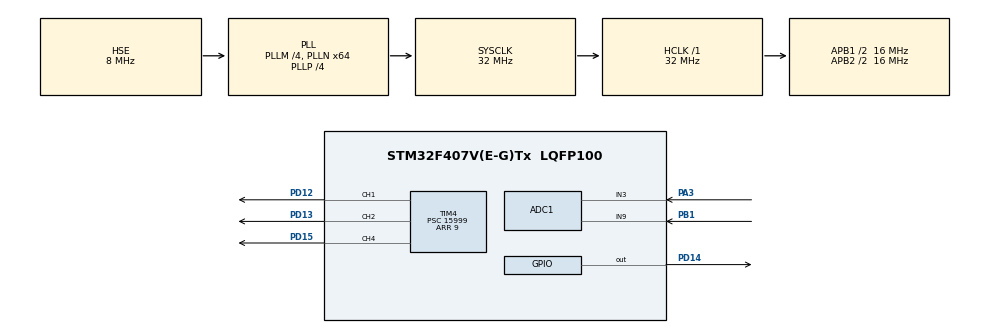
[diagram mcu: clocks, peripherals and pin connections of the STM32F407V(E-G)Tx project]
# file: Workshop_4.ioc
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ADC1.Channel-0\#ChannelRegularConversion=ADC_CHANNEL_3
ADC1.Channel-1\#ChannelRegularConversion=ADC_CHANNEL_9
ADC1.Channel-2\#ChannelRegularConversion=ADC_CHANNEL_TEMPSENSOR
ADC1.ClockPrescaler=ADC_CLOCK_SYNC_PCLK_DIV4
ADC1.DMAContinuousRequests=ENABLE
ADC1.ExternalTrigConv=ADC_EXTERNALTRIGCONV_T2_TRGO
ADC1.NbrOfConversion=3
ADC1.NbrOfConversionFlag=1
ADC1.Rank-0\#ChannelRegularConversion=1
ADC1.Rank-1\#ChannelRegularConversion=2
ADC1.Rank-2\#ChannelRegularConversion=3
ADC1.SamplingTime-0\#ChannelRegularConversion=ADC_SAMPLETIME_3CYCLES
ADC1.SamplingTime-1\#ChannelRegularConversion=ADC_SAMPLETIME_3CYCLES
ADC1.SamplingTime-2\#ChannelRegularConversion=ADC_SAMPLETIME_3CYCLES
ADC1.ScanConvMode=ENABLE
ADC1.master=1
Dma.ADC1.0.Direction=DMA_PERIPH_TO_MEMORY
Dma.ADC1.0.FIFOMode=DMA_FIFOMODE_DISABLE
Dma.ADC1.0.Instance=DMA2_Stream0
Dma.ADC1.0.MemDataAlignment=DMA_MDATAALIGN_HALFWORD
Dma.ADC1.0.MemInc=DMA_MINC_ENABLE
Dma.ADC1.0.Mode=DMA_CIRCULAR
Dma.ADC1.0.PeriphDataAlignment=DMA_PDATAALIGN_HALFWORD
Dma.ADC1.0.PeriphInc=DMA_PINC_DISABLE
Dma.ADC1.0.Priority=DMA_PRIORITY_LOW
Dma.Request0=ADC1
Mcu.Family=STM32F4
Mcu.Name=STM32F407V(E-G)Tx
Mcu.Package=LQFP100
NVIC.DMA2_Stream0_IRQn=true\:0\:0\:false\:false\:true\:false\:true
NVIC.PriorityGroup=NVIC_PRIORITYGROUP_4
NVIC.TIM3_IRQn=true\:0\:0\:false\:false\:true\:true\:true
PA13.Mode=Serial_Wire
PA13.Signal=SYS_JTMS-SWDIO
PA14.Mode=Serial_Wire
PA14.Signal=SYS_JTCK-SWCLK
PA3.Signal=ADCx_IN3
PB1.Signal=ADCx_IN9
PD12.Signal=S_TIM4_CH1
PD13.Signal=S_TIM4_CH2
PD14.Signal=GPIO_Output
PD15.Signal=S_TIM4_CH4
PH0-OSC_IN.Mode=HSE-External-Oscillator
PH0-OSC_IN.Signal=RCC_OSC_IN
PH1-OSC_OUT.Mode=HSE-External-Oscillator
PH1-OSC_OUT.Signal=RCC_OSC_OUT
ProjectManager.HeapSize=0x200
ProjectManager.StackSize=0x400
ProjectManager.TargetToolchain=STM32CubeIDE
RCC.48MHZClocksFreq_Value=32000000
RCC.AHBFreq_Value=32000000
RCC.APB1CLKDivider=RCC_HCLK_DIV2
RCC.APB1Freq_Value=16000000
RCC.APB1TimFreq_Value=32000000
RCC.APB2CLKDivider=RCC_HCLK_DIV2
RCC.APB2Freq_Value=16000000
RCC.APB2TimFreq_Value=32000000
RCC.CortexFreq_Value=32000000
RCC.HCLKFreq_Value=32000000
RCC.HSE_VALUE=8000000
RCC.HSI_VALUE=16000000
RCC.LSE_VALUE=32768
RCC.PLLM=4
RCC.PLLN=64
RCC.PLLP=RCC_PLLP_DIV4
RCC.PLLSourceVirtual=RCC_PLLSOURCE_HSE
RCC.SYSCLKFreq_VALUE=32000000
RCC.SYSCLKSource=RCC_SYSCLKSOURCE_PLLCLK
RCC.VCOOutputFreq_Value=128000000
SH.ADCx_IN3.0=ADC1_IN3,IN3
SH.ADCx_IN9.0=ADC1_IN9,IN9
SH.S_TIM4_CH1.0=TIM4_CH1,PWM Generation1 CH1
SH.S_TIM4_CH2.0=TIM4_CH2,PWM Generation2 CH2
SH.S_TIM4_CH4.0=TIM4_CH4,PWM Generation4 CH4
TIM2.Period=99
TIM2.Prescaler=15999
TIM2.TIM_MasterOutputTrigger=TIM_TRGO_UPDATE
TIM3.AutoReloadPreload=TIM_AUTORELOAD_PRELOAD_ENABLE
TIM3.Period=999
TIM3.Prescaler=31999
TIM4.AutoReloadPreload=TIM_AUTORELOAD_PRELOAD_DISABLE
TIM4.Channel-PWM\ Generation1\ CH1=TIM_CHANNEL_1
TIM4.Channel-PWM\ Generation2\ CH2=TIM_CHANNEL_2
TIM4.Channel-PWM\ Generation4\ CH4=TIM_CHANNEL_4
TIM4.Period=9
TIM4.Prescaler=15999
TIM4.Pulse-PWM\ Generation1\ CH1=0
TIM4.Pulse-PWM\ Generation2\ CH2=0
TIM4.Pulse-PWM\ Generation4\ CH4=0
TIM4.TIM_MasterOutputTrigger=TIM_TRGO_RESET
VP_ADC1_TempSens_Input.Mode=IN-TempSens
VP_TIM2_VS_ClockSourceINT.Mode=Internal
VP_TIM3_VS_ClockSourceINT.Mode=Internal
VP_TIM4_VS_ClockSourceINT.Mode=Internal
board=custom

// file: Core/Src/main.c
/* USER CODE BEGIN Header */
/**
  ******************************************************************************
  * @file           : main.c
  * @brief          : Main program body
  ******************************************************************************
  * @attention
  *
  * <h2><center>&copy; Copyright (c) 2021 STMicroelectronics.
  * All rights reserved.</center></h2>
  *
  * This software component is licensed by ST under BSD 3-Clause license,
  * the "License"; You may not use this file except in compliance with the
  * License. You may obtain a copy of the License at:
  *                        opensource.org/licenses/BSD-3-Clause
  *
  ******************************************************************************
  */
/* USER CODE END Header */

#include "main.h"

ADC_HandleTypeDef hadc1;
DMA_HandleTypeDef hdma_adc1;

TIM_HandleTypeDef htim2;
TIM_HandleTypeDef htim3;
TIM_HandleTypeDef htim4;

/* USER CODE BEGIN PV */
uint16_t arr_adc[3];
/* USER CODE END PV */

void SystemClock_Config(void);
static void MX_GPIO_Init(void);
static void MX_DMA_Init(void);
static void MX_ADC1_Init(void);
static void MX_TIM2_Init(void);
static void MX_TIM4_Init(void);
static void MX_TIM3_Init(void);

int main(void)
{

  /* MCU Configuration--------------------------------------------------------*/

  /* Reset of all peripherals, Initializes the Flash interface and the Systick. */
  HAL_Init();

  /* Configure the system clock */
  SystemClock_Config();

  /* Initialize all configured peripherals */
  MX_GPIO_Init();
  MX_DMA_Init();
  MX_ADC1_Init();
  MX_TIM2_Init();
  MX_TIM4_Init();
  MX_TIM3_Init();
  /* USER CODE BEGIN 2 */
  HAL_TIM_Base_Start_IT(&htim2);
  HAL_ADC_Start_DMA (&hadc1, (uint32_t*) arr_adc, 3);
  uint8_t alert = 0;
  /* USER CODE END 2 */

  /* Infinite loop */
  /* USER CODE BEGIN WHILE */
  while (1)
  {
	      TIM4-> CCR1 = arr_adc[0] / 409.5;
	      TIM4-> CCR2 = (240 - 70*((arr_adc[1]*3.3)/1950))/10;
	      TIM4-> CCR4 = (arr_adc[2]/10)-103;

	      if (arr_adc[0] > 4000) alert++;
	      if (arr_adc[1] < 1550) alert++;
	      if (arr_adc[2] > 1055) alert++;

	      switch (alert){
	      case 1:
	    	  HAL_TIM_PWM_Stop(& htim4, TIM_CHANNEL_1);
	    	  HAL_TIM_PWM_Stop(& htim4, TIM_CHANNEL_2);
	    	  HAL_TIM_PWM_Stop(& htim4, TIM_CHANNEL_4);
	    	  TIM3-> ARR = 499;
	    	  HAL_TIM_Base_Start_IT(&htim3);
	          alert = 0;
	          break;
	      case 2:
	    	  HAL_TIM_PWM_Stop(& htim4, TIM_CHANNEL_1);
	    	  HAL_TIM_PWM_Stop(& htim4, TIM_CHANNEL_2);
	    	  HAL_TIM_PWM_Stop(& htim4, TIM_CHANNEL_4);
	    	  TIM3-> ARR = 199;
	    	  HAL_TIM_Base_Start_IT(&htim3);
	          alert = 0;
	          break;
	      case 3:
	    	  HAL_TIM_PWM_Stop(& htim4, TIM_CHANNEL_1);
	    	  HAL_TIM_PWM_Stop(& htim4, TIM_CHANNEL_2);
	    	  HAL_TIM_PWM_Stop(& htim4, TIM_CHANNEL_4);
	    	  TIM3-> ARR = 99;
	    	  HAL_TIM_Base_Start_IT(&htim3);
	          alert = 0;
	          break;
	      default:
	    	  HAL_TIM_Base_Stop_IT(&htim3);
	    	  HAL_TIM_PWM_Start(& htim4, TIM_CHANNEL_1);
	    	  HAL_TIM_PWM_Start(& htim4, TIM_CHANNEL_2);
	    	  HAL_TIM_PWM_Start(& htim4, TIM_CHANNEL_4);
	    	  HAL_GPIO_WritePin(GPIOD, GPIO_PIN_14, GPIO_PIN_RESET);
	    	  alert = 0;
	    	  break;

	      }
    /* USER CODE END WHILE */

  }
}

void SystemClock_Config(void)
{
  RCC_OscInitTypeDef RCC_OscInitStruct = {0};
  RCC_ClkInitTypeDef RCC_ClkInitStruct = {0};

  /** Configure the main internal regulator output voltage
  */
  __HAL_RCC_PWR_CLK_ENABLE();
  __HAL_PWR_VOLTAGESCALING_CONFIG(PWR_REGULATOR_VOLTAGE_SCALE1);
  /** Initializes the CPU, AHB and APB busses clocks
  */
  RCC_OscInitStruct.OscillatorType = RCC_OSCILLATORTYPE_HSE;
  RCC_OscInitStruct.HSEState = RCC_HSE_ON;
  RCC_OscInitStruct.PLL.PLLState = RCC_PLL_ON;
  RCC_OscInitStruct.PLL.PLLSource = RCC_PLLSOURCE_HSE;
  RCC_OscInitStruct.PLL.PLLM = 4;
  RCC_OscInitStruct.PLL.PLLN = 64;
  RCC_OscInitStruct.PLL.PLLP = RCC_PLLP_DIV4;
  RCC_OscInitStruct.PLL.PLLQ = 4;
  if (HAL_RCC_OscConfig(&RCC_OscInitStruct) != HAL_OK)
  {
    Error_Handler();
  }
  /** Initializes the CPU, AHB and APB busses clocks
  */
  RCC_ClkInitStruct.ClockType = RCC_CLOCKTYPE_HCLK|RCC_CLOCKTYPE_SYSCLK
                              |RCC_CLOCKTYPE_PCLK1|RCC_CLOCKTYPE_PCLK2;
  RCC_ClkInitStruct.SYSCLKSource = RCC_SYSCLKSOURCE_PLLCLK;
  RCC_ClkInitStruct.AHBCLKDivider = RCC_SYSCLK_DIV1;
  RCC_ClkInitStruct.APB1CLKDivider = RCC_HCLK_DIV2;
  RCC_ClkInitStruct.APB2CLKDivider = RCC_HCLK_DIV2;

  if (HAL_RCC_ClockConfig(&RCC_ClkInitStruct, FLASH_LATENCY_1) != HAL_OK)
  {
    Error_Handler();
  }
}

static void MX_ADC1_Init(void)
{

  ADC_ChannelConfTypeDef sConfig = {0};

  /** Configure the global features of the ADC (Clock, Resolution, Data Alignment and number of conversion)
  */
  hadc1.Instance = ADC1;
  hadc1.Init.ClockPrescaler = ADC_CLOCK_SYNC_PCLK_DIV4;
  hadc1.Init.Resolution = ADC_RESOLUTION_12B;
  hadc1.Init.ScanConvMode = ENABLE;
  hadc1.Init.ContinuousConvMode = DISABLE;
  hadc1.Init.DiscontinuousConvMode = DISABLE;
  hadc1.Init.ExternalTrigConvEdge = ADC_EXTERNALTRIGCONVEDGE_RISING;
  hadc1.Init.ExternalTrigConv = ADC_EXTERNALTRIGCONV_T2_TRGO;
  hadc1.Init.DataAlign = ADC_DATAALIGN_RIGHT;
  hadc1.Init.NbrOfConversion = 3;
  hadc1.Init.DMAContinuousRequests = ENABLE;
  hadc1.Init.EOCSelection = ADC_EOC_SINGLE_CONV;
  if (HAL_ADC_Init(&hadc1) != HAL_OK)
  {
    Error_Handler();
  }
  /** Configure for the selected ADC regular channel its corresponding rank in the sequencer and its sample time.
  */
  sConfig.Channel = ADC_CHANNEL_3;
  sConfig.Rank = 1;
  sConfig.SamplingTime = ADC_SAMPLETIME_3CYCLES;
  if (HAL_ADC_ConfigChannel(&hadc1, &sConfig) != HAL_OK)
  {
    Error_Handler();
  }
  /** Configure for the selected ADC regular channel its corresponding rank in the sequencer and its sample time.
  */
  sConfig.Channel = ADC_CHANNEL_9;
  sConfig.Rank = 2;
  if (HAL_ADC_ConfigChannel(&hadc1, &sConfig) != HAL_OK)
  {
    Error_Handler();
  }
  /** Configure for the selected ADC regular channel its corresponding rank in the sequencer and its sample time.
  */
  sConfig.Channel = ADC_CHANNEL_TEMPSENSOR;
  sConfig.Rank = 3;
  if (HAL_ADC_ConfigChannel(&hadc1, &sConfig) != HAL_OK)
  {
    Error_Handler();
  }

}

static void MX_TIM2_Init(void)
{

  TIM_ClockConfigTypeDef sClockSourceConfig = {0};
  TIM_MasterConfigTypeDef sMasterConfig = {0};

  htim2.Instance = TIM2;
  htim2.Init.Prescaler = 15999;
  htim2.Init.CounterMode = TIM_COUNTERMODE_UP;
  htim2.Init.Period = 99;
  htim2.Init.ClockDivision = TIM_CLOCKDIVISION_DIV1;
  htim2.Init.AutoReloadPreload = TIM_AUTORELOAD_PRELOAD_DISABLE;
  if (HAL_TIM_Base_Init(&htim2) != HAL_OK)
  {
    Error_Handler();
  }
  sClockSourceConfig.ClockSource = TIM_CLOCKSOURCE_INTERNAL;
  if (HAL_TIM_ConfigClockSource(&htim2, &sClockSourceConfig) != HAL_OK)
  {
    Error_Handler();
  }
  sMasterConfig.MasterOutputTrigger = TIM_TRGO_UPDATE;
  sMasterConfig.MasterSlaveMode = TIM_MASTERSLAVEMODE_DISABLE;
  if (HAL_TIMEx_MasterConfigSynchronization(&htim2, &sMasterConfig) != HAL_OK)
  {
    Error_Handler();
  }

}

static void MX_TIM3_Init(void)
{

  TIM_ClockConfigTypeDef sClockSourceConfig = {0};
  TIM_MasterConfigTypeDef sMasterConfig = {0};

  htim3.Instance = TIM3;
  htim3.Init.Prescaler = 31999;
  htim3.Init.CounterMode = TIM_COUNTERMODE_UP;
  htim3.Init.Period = 999;
  htim3.Init.ClockDivision = TIM_CLOCKDIVISION_DIV1;
  htim3.Init.AutoReloadPreload = TIM_AUTORELOAD_PRELOAD_ENABLE;
  if (HAL_TIM_Base_Init(&htim3) != HAL_OK)
  {
    Error_Handler();
  }
  sClockSourceConfig.ClockSource = TIM_CLOCKSOURCE_INTERNAL;
  if (HAL_TIM_ConfigClockSource(&htim3, &sClockSourceConfig) != HAL_OK)
  {
    Error_Handler();
  }
  sMasterConfig.MasterOutputTrigger = TIM_TRGO_RESET;
  sMasterConfig.MasterSlaveMode = TIM_MASTERSLAVEMODE_DISABLE;
  if (HAL_TIMEx_MasterConfigSynchronization(&htim3, &sMasterConfig) != HAL_OK)
  {
    Error_Handler();
  }

}

static void MX_TIM4_Init(void)
{

  TIM_ClockConfigTypeDef sClockSourceConfig = {0};
  TIM_MasterConfigTypeDef sMasterConfig = {0};
  TIM_OC_InitTypeDef sConfigOC = {0};

  htim4.Instance = TIM4;
  htim4.Init.Prescaler = 15999;
  htim4.Init.CounterMode = TIM_COUNTERMODE_UP;
  htim4.Init.Period = 9;
  htim4.Init.ClockDivision = TIM_CLOCKDIVISION_DIV1;
  htim4.Init.AutoReloadPreload = TIM_AUTORELOAD_PRELOAD_DISABLE;
  if (HAL_TIM_Base_Init(&htim4) != HAL_OK)
  {
    Error_Handler();
  }
  sClockSourceConfig.ClockSource = TIM_CLOCKSOURCE_INTERNAL;
  if (HAL_TIM_ConfigClockSource(&htim4, &sClockSourceConfig) != HAL_OK)
  {
    Error_Handler();
  }
  if (HAL_TIM_PWM_Init(&htim4) != HAL_OK)
  {
    Error_Handler();
  }
  sMasterConfig.MasterOutputTrigger = TIM_TRGO_RESET;
  sMasterConfig.MasterSlaveMode = TIM_MASTERSLAVEMODE_DISABLE;
  if (HAL_TIMEx_MasterConfigSynchronization(&htim4, &sMasterConfig) != HAL_OK)
  {
    Error_Handler();
  }
  sConfigOC.OCMode = TIM_OCMODE_PWM1;
  sConfigOC.Pulse = 0;
  sConfigOC.OCPolarity = TIM_OCPOLARITY_HIGH;
  sConfigOC.OCFastMode = TIM_OCFAST_DISABLE;
  if (HAL_TIM_PWM_ConfigChannel(&htim4, &sConfigOC, TIM_CHANNEL_1) != HAL_OK)
  {
    Error_Handler();
  }
  if (HAL_TIM_PWM_ConfigChannel(&htim4, &sConfigOC, TIM_CHANNEL_2) != HAL_OK)
  {
    Error_Handler();
  }
  if (HAL_TIM_PWM_ConfigChannel(&htim4, &sConfigOC, TIM_CHANNEL_4) != HAL_OK)
  {
    Error_Handler();
  }
  HAL_TIM_MspPostInit(&htim4);

}

static void MX_DMA_Init(void)
{

  /* DMA controller clock enable */
  __HAL_RCC_DMA2_CLK_ENABLE();

  /* DMA interrupt init */
  /* DMA2_Stream0_IRQn interrupt configuration */
  HAL_NVIC_SetPriority(DMA2_Stream0_IRQn, 0, 0);
  HAL_NVIC_EnableIRQ(DMA2_Stream0_IRQn);

}

static void MX_GPIO_Init(void)
{
  GPIO_InitTypeDef GPIO_InitStruct = {0};

  /* GPIO Ports Clock Enable */
  __HAL_RCC_GPIOH_CLK_ENABLE();
  __HAL_RCC_GPIOA_CLK_ENABLE();
  __HAL_RCC_GPIOB_CLK_ENABLE();
  __HAL_RCC_GPIOD_CLK_ENABLE();

  /*Configure GPIO pin Output Level */
  HAL_GPIO_WritePin(GPIOD, GPIO_PIN_14, GPIO_PIN_RESET);

  /*Configure GPIO pin : PD14 */
  GPIO_InitStruct.Pin = GPIO_PIN_14;
  GPIO_InitStruct.Mode = GPIO_MODE_OUTPUT_PP;
  GPIO_InitStruct.Pull = GPIO_NOPULL;
  GPIO_InitStruct.Speed = GPIO_SPEED_FREQ_LOW;
  HAL_GPIO_Init(GPIOD, &GPIO_InitStruct);

}

void Error_Handler(void)
{
}

/************************ (C) COPYRIGHT STMicroelectronics *****END OF FILE****/
